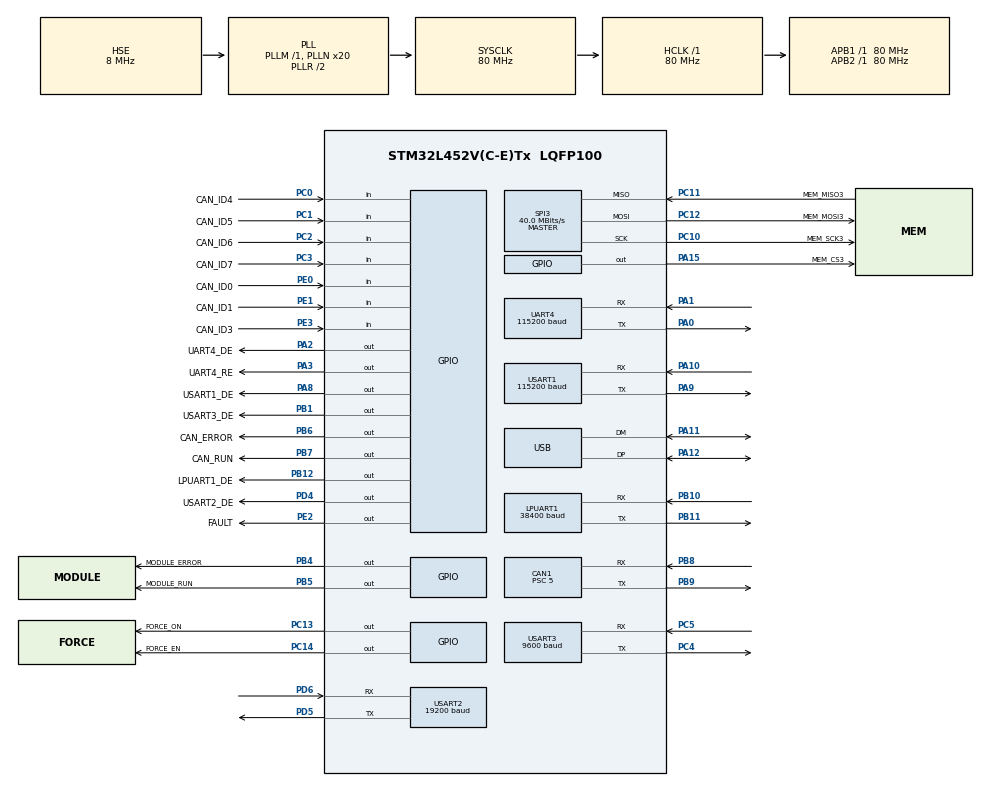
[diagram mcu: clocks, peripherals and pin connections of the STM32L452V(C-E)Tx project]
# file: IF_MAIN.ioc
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CAN1.ABOM=ENABLE
CAN1.BS1=CAN_BS1_12TQ
CAN1.BS2=CAN_BS2_4TQ
CAN1.CalculateBaudRate=941176
CAN1.CalculateTimeBit=1062
CAN1.CalculateTimeQuantum=62.5
CAN1.Prescaler=5
CAN1.RFLM=ENABLE
CAN1.TXFP=ENABLE
Dma.LPUART_RX.4.Direction=DMA_PERIPH_TO_MEMORY
Dma.LPUART_RX.4.Instance=DMA2_Channel7
Dma.LPUART_RX.4.MemDataAlignment=DMA_MDATAALIGN_BYTE
Dma.LPUART_RX.4.MemInc=DMA_MINC_ENABLE
Dma.LPUART_RX.4.Mode=DMA_CIRCULAR
Dma.LPUART_RX.4.PeriphDataAlignment=DMA_PDATAALIGN_BYTE
Dma.LPUART_RX.4.PeriphInc=DMA_PINC_DISABLE
Dma.LPUART_RX.4.Priority=DMA_PRIORITY_LOW
Dma.Request0=UART4_RX
Dma.Request1=USART1_RX
Dma.Request2=USART2_RX
Dma.Request3=USART3_RX
Dma.Request4=LPUART_RX
Dma.UART4_RX.0.Direction=DMA_PERIPH_TO_MEMORY
Dma.UART4_RX.0.Instance=DMA2_Channel5
Dma.UART4_RX.0.MemDataAlignment=DMA_MDATAALIGN_BYTE
Dma.UART4_RX.0.MemInc=DMA_MINC_ENABLE
Dma.UART4_RX.0.Mode=DMA_CIRCULAR
Dma.UART4_RX.0.PeriphDataAlignment=DMA_PDATAALIGN_BYTE
Dma.UART4_RX.0.PeriphInc=DMA_PINC_DISABLE
Dma.UART4_RX.0.Priority=DMA_PRIORITY_LOW
Dma.USART1_RX.1.Direction=DMA_PERIPH_TO_MEMORY
Dma.USART1_RX.1.Instance=DMA1_Channel5
Dma.USART1_RX.1.MemDataAlignment=DMA_MDATAALIGN_BYTE
Dma.USART1_RX.1.MemInc=DMA_MINC_ENABLE
Dma.USART1_RX.1.Mode=DMA_CIRCULAR
Dma.USART1_RX.1.PeriphDataAlignment=DMA_PDATAALIGN_BYTE
Dma.USART1_RX.1.PeriphInc=DMA_PINC_DISABLE
Dma.USART1_RX.1.Priority=DMA_PRIORITY_LOW
Dma.USART2_RX.2.Direction=DMA_PERIPH_TO_MEMORY
Dma.USART2_RX.2.Instance=DMA1_Channel6
Dma.USART2_RX.2.MemDataAlignment=DMA_MDATAALIGN_BYTE
Dma.USART2_RX.2.MemInc=DMA_MINC_ENABLE
Dma.USART2_RX.2.Mode=DMA_CIRCULAR
Dma.USART2_RX.2.PeriphDataAlignment=DMA_PDATAALIGN_BYTE
Dma.USART2_RX.2.PeriphInc=DMA_PINC_DISABLE
Dma.USART2_RX.2.Priority=DMA_PRIORITY_LOW
Dma.USART3_RX.3.Direction=DMA_PERIPH_TO_MEMORY
Dma.USART3_RX.3.Instance=DMA1_Channel3
Dma.USART3_RX.3.MemDataAlignment=DMA_MDATAALIGN_BYTE
Dma.USART3_RX.3.MemInc=DMA_MINC_ENABLE
Dma.USART3_RX.3.Mode=DMA_CIRCULAR
Dma.USART3_RX.3.PeriphDataAlignment=DMA_PDATAALIGN_BYTE
Dma.USART3_RX.3.PeriphInc=DMA_PINC_DISABLE
Dma.USART3_RX.3.Priority=DMA_PRIORITY_LOW
FREERTOS.Tasks01=defaultTask,24,128,StartDefaultTask,Default,NULL,Dynamic,NULL,NULL
FREERTOS.configGENERATE_RUN_TIME_STATS=1
FREERTOS.configTOTAL_HEAP_SIZE=80000
FREERTOS.configUSE_NEWLIB_REENTRANT=1
FREERTOS.configUSE_STATS_FORMATTING_FUNCTIONS=1
IWDG.Prescaler=IWDG_PRESCALER_64
IWDG.Reload=1499
IWDG.Window=4095
LPUART1.BaudRate=38400
LPUART1.DMADisableonRxErrorParam=UART_ADVFEATURE_DMA_DISABLEONRXERROR
LPUART1.OverrunDisableParam=UART_ADVFEATURE_OVERRUN_DISABLE
LPUART1.WordLength=UART_WORDLENGTH_8B
Mcu.Family=STM32L4
Mcu.Name=STM32L452V(C-E)Tx
Mcu.Package=LQFP100
NVIC.CAN1_RX0_IRQn=true\:5\:0\:false\:false\:true\:true\:true\:true\:true
NVIC.CAN1_RX1_IRQn=true\:5\:0\:false\:false\:true\:true\:true\:true\:true
NVIC.CAN1_SCE_IRQn=true\:5\:0\:false\:false\:true\:true\:true\:true\:true
NVIC.CAN1_TX_IRQn=true\:5\:0\:false\:false\:true\:true\:true\:true\:true
NVIC.DMA1_Channel3_IRQn=true\:5\:0\:false\:false\:true\:true\:false\:true\:true
NVIC.DMA1_Channel5_IRQn=true\:5\:0\:false\:false\:true\:true\:false\:true\:true
NVIC.DMA1_Channel6_IRQn=true\:5\:0\:false\:false\:true\:true\:false\:true\:true
NVIC.DMA2_Channel5_IRQn=true\:5\:0\:false\:false\:true\:true\:false\:true\:true
NVIC.DMA2_Channel7_IRQn=true\:5\:0\:false\:false\:true\:true\:false\:true\:true
NVIC.LPUART1_IRQn=true\:5\:0\:false\:false\:true\:true\:true\:true\:true
NVIC.PriorityGroup=NVIC_PRIORITYGROUP_4
NVIC.TIM1_UP_TIM16_IRQn=true\:15\:0\:false\:false\:true\:false\:false\:true\:true
NVIC.TIM6_DAC_IRQn=true\:5\:0\:false\:false\:true\:true\:true\:true\:true
NVIC.TimeBase=TIM1_UP_TIM16_IRQn
NVIC.TimeBaseIP=TIM16
NVIC.UART4_IRQn=true\:5\:0\:false\:false\:true\:true\:true\:true\:true
NVIC.USART1_IRQn=true\:5\:0\:false\:false\:true\:true\:true\:true\:true
NVIC.USART2_IRQn=true\:5\:0\:false\:false\:true\:true\:true\:true\:true
NVIC.USART3_IRQn=true\:5\:0\:false\:false\:true\:true\:true\:true\:true
NVIC.USB_IRQn=true\:5\:0\:false\:false\:true\:true\:false\:true\:true
PA0.Mode=Asynchronous
PA0.Signal=UART4_TX
PA1.Mode=Asynchronous
PA1.Signal=UART4_RX
PA10.Mode=Asynchronous
PA10.Signal=USART1_RX
PA11.Mode=Device
PA11.Signal=USB_DM
PA12.Mode=Device
PA12.Signal=USB_DP
PA13\ (JTMS/SWDIO).Mode=Trace_Asynchronous_SW
PA13\ (JTMS/SWDIO).Signal=SYS_JTMS-SWDIO
PA14\ (JTCK/SWCLK).Mode=Trace_Asynchronous_SW
PA14\ (JTCK/SWCLK).Signal=SYS_JTCK-SWCLK
PA15\ (JTDI).GPIO_Label=MEM_CS3
PA15\ (JTDI).GPIO_Speed=GPIO_SPEED_FREQ_HIGH
PA15\ (JTDI).PinState=GPIO_PIN_SET
PA15\ (JTDI).Signal=GPIO_Output
PA2.GPIO_Label=UART4_DE
PA2.Signal=GPIO_Output
PA3.GPIO_Label=UART4_RE
PA3.Signal=GPIO_Output
PA8.GPIO_Label=USART1_DE
PA8.Signal=GPIO_Output
PA9.Mode=Asynchronous
PA9.Signal=USART1_TX
PB1.GPIO_Label=USART3_DE
PB1.Signal=GPIO_Output
PB10.Mode=Asynchronous
PB10.Signal=LPUART1_RX
PB11.Mode=Asynchronous
PB11.Signal=LPUART1_TX
PB12.GPIO_Label=LPUART1_DE
PB12.Signal=GPIO_Output
PB3\ (JTDO/TRACESWO).Mode=Trace_Asynchronous_SW
PB3\ (JTDO/TRACESWO).Signal=SYS_JTDO-SWO
PB4\ (NJTRST).GPIO_Label=MODULE_ERROR
PB4\ (NJTRST).Signal=GPIO_Output
PB5.GPIO_Label=MODULE_RUN
PB5.Signal=GPIO_Output
PB6.GPIO_Label=CAN_ERROR
PB6.Signal=GPIO_Output
PB7.GPIO_Label=CAN_RUN
PB7.Signal=GPIO_Output
PB8.Mode=CAN_Activate
PB8.Signal=CAN1_RX
PB9.Mode=CAN_Activate
PB9.Signal=CAN1_TX
PC0.GPIO_Label=CAN_ID4
PC0.GPIO_PuPd=GPIO_PULLUP
PC0.Signal=GPIO_Input
PC1.GPIO_Label=CAN_ID5
PC1.GPIO_PuPd=GPIO_PULLUP
PC1.Signal=GPIO_Input
PC10.GPIO_Label=MEM_SCK3
PC10.Mode=Full_Duplex_Master
PC10.Signal=SPI3_SCK
PC11.GPIO_Label=MEM_MISO3
PC11.Mode=Full_Duplex_Master
PC11.Signal=SPI3_MISO
PC12.GPIO_Label=MEM_MOSI3
PC12.Mode=Full_Duplex_Master
PC12.Signal=SPI3_MOSI
PC13.GPIO_Label=FORCE_ON
PC13.Signal=GPIO_Output
PC14-OSC32_IN\ (PC14).GPIO_Label=FORCE_EN
PC14-OSC32_IN\ (PC14).Signal=GPIO_Output
PC2.GPIO_Label=CAN_ID6
PC2.GPIO_PuPd=GPIO_PULLUP
PC2.Signal=GPIO_Input
PC3.GPIO_Label=CAN_ID7
PC3.GPIO_PuPd=GPIO_PULLUP
PC3.Signal=GPIO_Input
PC4.Mode=Asynchronous
PC4.Signal=USART3_TX
PC5.Mode=Asynchronous
PC5.Signal=USART3_RX
PD4.GPIO_Label=USART2_DE
PD4.Signal=GPIO_Output
PD5.Mode=Asynchronous
PD5.Signal=USART2_TX
PD6.Mode=Asynchronous
PD6.Signal=USART2_RX
PE0.GPIO_Label=CAN_ID0
PE0.GPIO_PuPd=GPIO_PULLUP
PE0.Signal=GPIO_Input
PE1.GPIO_Label=CAN_ID1
PE1.GPIO_PuPd=GPIO_PULLUP
PE1.Signal=GPIO_Input
PE2.GPIO_Label=FAULT
PE2.Signal=GPIO_Output
PE3.GPIO_Label=CAN_ID3
PE3.GPIO_PuPd=GPIO_PULLUP
PE3.Signal=GPIO_Input
PH0-OSC_IN\ (PH0).Mode=HSE-External-Oscillator
PH0-OSC_IN\ (PH0).Signal=RCC_OSC_IN
PH1-OSC_OUT\ (PH1).Mode=HSE-External-Oscillator
PH1-OSC_OUT\ (PH1).Signal=RCC_OSC_OUT
ProjectManager.HeapSize=0x200
ProjectManager.StackSize=0x400
ProjectManager.TargetToolchain=STM32CubeIDE
RCC.ADCFreq_Value=48000000
RCC.AHBFreq_Value=80000000
RCC.APB1Freq_Value=80000000
RCC.APB1TimFreq_Value=80000000
RCC.APB2Freq_Value=80000000
RCC.APB2TimFreq_Value=80000000
RCC.CK48CLockSelection=RCC_USBCLKSOURCE_HSI48
RCC.CortexFreq_Value=80000000
RCC.HCLKFreq_Value=80000000
RCC.HSE_VALUE=8000000
RCC.HSI48_VALUE=48000000
RCC.HSI_VALUE=16000000
RCC.LSE_VALUE=32768
RCC.MSI_VALUE=4000000
RCC.PLLN=20
RCC.PLLSAI1N=12
RCC.PLLSourceVirtual=RCC_PLLSOURCE_HSE
RCC.SYSCLKFreq_VALUE=80000000
RCC.SYSCLKSource=RCC_SYSCLKSOURCE_PLLCLK
RCC.USBFreq_Value=48000000
RCC.VCOOutputFreq_Value=160000000
SPI3.BaudRatePrescaler=SPI_BAUDRATEPRESCALER_2
SPI3.CalculateBaudRate=40.0 MBits/s
SPI3.DataSize=SPI_DATASIZE_8BIT
SPI3.Direction=SPI_DIRECTION_2LINES
SPI3.Mode=SPI_MODE_MASTER
SPI3.NSSPMode=SPI_NSS_PULSE_DISABLE
SPI3.VirtualType=VM_MASTER
TIM6.Prescaler=79
UART4.BaudRate=115200
USART1.BaudRate=115200
USART1.VirtualMode-Asynchronous=VM_ASYNC
USART2.BaudRate=19200
USART2.VirtualMode-Asynchronous=VM_ASYNC
USART3.BaudRate=9600
USART3.Parity=PARITY_EVEN
USART3.VirtualMode-Asynchronous=VM_ASYNC
USART3.WordLength=WORDLENGTH_9B
USB_DEVICE.CLASS_NAME_FS=CDC
USB_DEVICE.VirtualMode=Cdc
USB_DEVICE.VirtualModeFS=Cdc_FS
VP_FREERTOS_VS_CMSIS_V2.Mode=CMSIS_V2
VP_IWDG_VS_IWDG.Mode=IWDG_Activate
VP_SYS_VS_tim16.Mode=TIM16
VP_TIM6_VS_ClockSourceINT.Mode=Enable_Timer
VP_USB_DEVICE_VS_USB_DEVICE_CDC_FS.Mode=CDC_FS
board=custom

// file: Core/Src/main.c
/* USER CODE BEGIN Header */
/**
  ******************************************************************************
  * @file           : main.c
  * @brief          : Main program body
  ******************************************************************************
  * @attention
  *
  * Copyright (c) 2026 STMicroelectronics.
  * All rights reserved.
  *
  * This software is licensed under terms that can be found in the LICENSE file
  * in the root directory of this software component.
  * If no LICENSE file comes with this software, it is provided AS-IS.
  *
  ******************************************************************************
  */
/* USER CODE END Header */
#include "main.h"
#include "cmsis_os.h"
#include "usb_device.h"

/* USER CODE BEGIN Includes */
#include "a_application.h"
#include "a_boot_link.h"
#include "a_test_link.h"

/* USER CODE END Includes */

CAN_HandleTypeDef hcan1;

IWDG_HandleTypeDef hiwdg;

UART_HandleTypeDef hlpuart1;
UART_HandleTypeDef huart4;
UART_HandleTypeDef huart1;
UART_HandleTypeDef huart2;
UART_HandleTypeDef huart3;
DMA_HandleTypeDef hdma_lpuart_rx;
DMA_HandleTypeDef hdma_uart4_rx;
DMA_HandleTypeDef hdma_usart1_rx;
DMA_HandleTypeDef hdma_usart2_rx;
DMA_HandleTypeDef hdma_usart3_rx;

SPI_HandleTypeDef hspi3;

TIM_HandleTypeDef htim6;

/* Definitions for defaultTask */
osThreadId_t defaultTaskHandle;
const osThreadAttr_t defaultTask_attributes = {
  .name = "defaultTask",
  .stack_size = 128 * 4,
  .priority = (osPriority_t) osPriorityNormal,
};

void SystemClock_Config(void);
static void MX_GPIO_Init(void);
static void MX_DMA_Init(void);
static void MX_CAN1_Init(void);
static void MX_SPI3_Init(void);
static void MX_UART4_Init(void);
static void MX_USART1_UART_Init(void);
static void MX_USART2_UART_Init(void);
static void MX_USART3_UART_Init(void);
static void MX_LPUART1_UART_Init(void);
static void MX_TIM6_Init(void);
static void MX_IWDG_Init(void);
void StartDefaultTask(void *argument);

/* USER CODE BEGIN 0 */
    int _write(int file, char *ptr, int len)
    {
      int DataIdx;
      for (DataIdx = 0; DataIdx < len; DataIdx++)
      {
        ITM_SendChar(*ptr++); //__io_putchar(*ptr++);
      }
      return len;
    }

/* USER CODE END 0 */

int main(void)
{

  /* MCU Configuration--------------------------------------------------------*/

  /* Reset of all peripherals, Initializes the Flash interface and the Systick. */
  HAL_Init();

  /* Configure the system clock */
  SystemClock_Config();

  /* Initialize all configured peripherals */
  MX_GPIO_Init();
  MX_DMA_Init();
  MX_CAN1_Init();
  MX_SPI3_Init();
  MX_UART4_Init();
  MX_USART1_UART_Init();
  MX_USART2_UART_Init();
  MX_USART3_UART_Init();
  MX_LPUART1_UART_Init();
  MX_TIM6_Init();
  MX_IWDG_Init();

  /* Init scheduler */
  osKernelInitialize();

  /* Create the thread(s) */
  /* creation of defaultTask */
  defaultTaskHandle = osThreadNew(StartDefaultTask, NULL, &defaultTask_attributes);

  /* USER CODE BEGIN RTOS_THREADS */
  Application_Init();
  if (!Application_CreateTasks())
  {
    Error_Handler();
  }
  /* USER CODE END RTOS_THREADS */

  /* Start scheduler */
  osKernelStart();

  /* We should never get here as control is now taken by the scheduler */

  /* Infinite loop */
  while (1)
  {

  }
}

void SystemClock_Config(void)
{
  RCC_OscInitTypeDef RCC_OscInitStruct = {0};
  RCC_ClkInitTypeDef RCC_ClkInitStruct = {0};

  /** Configure the main internal regulator output voltage
  */
  if (HAL_PWREx_ControlVoltageScaling(PWR_REGULATOR_VOLTAGE_SCALE1) != HAL_OK)
  {
    Error_Handler();
  }

  /** Initializes the RCC Oscillators according to the specified parameters
  * in the RCC_OscInitTypeDef structure.
  */
  RCC_OscInitStruct.OscillatorType = RCC_OSCILLATORTYPE_HSI48|RCC_OSCILLATORTYPE_LSI
                              |RCC_OSCILLATORTYPE_HSE;
  RCC_OscInitStruct.HSEState = RCC_HSE_ON;
  RCC_OscInitStruct.HSI48State = RCC_HSI48_ON;
  RCC_OscInitStruct.LSIState = RCC_LSI_ON;
  RCC_OscInitStruct.PLL.PLLState = RCC_PLL_ON;
  RCC_OscInitStruct.PLL.PLLSource = RCC_PLLSOURCE_HSE;
  RCC_OscInitStruct.PLL.PLLM = 1;
  RCC_OscInitStruct.PLL.PLLN = 20;
  RCC_OscInitStruct.PLL.PLLP = RCC_PLLP_DIV7;
  RCC_OscInitStruct.PLL.PLLQ = RCC_PLLQ_DIV2;
  RCC_OscInitStruct.PLL.PLLR = RCC_PLLR_DIV2;
  if (HAL_RCC_OscConfig(&RCC_OscInitStruct) != HAL_OK)
  {
    Error_Handler();
  }

  /** Initializes the CPU, AHB and APB buses clocks
  */
  RCC_ClkInitStruct.ClockType = RCC_CLOCKTYPE_HCLK|RCC_CLOCKTYPE_SYSCLK
                              |RCC_CLOCKTYPE_PCLK1|RCC_CLOCKTYPE_PCLK2;
  RCC_ClkInitStruct.SYSCLKSource = RCC_SYSCLKSOURCE_PLLCLK;
  RCC_ClkInitStruct.AHBCLKDivider = RCC_SYSCLK_DIV1;
  RCC_ClkInitStruct.APB1CLKDivider = RCC_HCLK_DIV1;
  RCC_ClkInitStruct.APB2CLKDivider = RCC_HCLK_DIV1;

  if (HAL_RCC_ClockConfig(&RCC_ClkInitStruct, FLASH_LATENCY_4) != HAL_OK)
  {
    Error_Handler();
  }
}

static void MX_CAN1_Init(void)
{

  hcan1.Instance = CAN1;
  hcan1.Init.Prescaler = 5;
  hcan1.Init.Mode = CAN_MODE_NORMAL;
  hcan1.Init.SyncJumpWidth = CAN_SJW_1TQ;
  hcan1.Init.TimeSeg1 = CAN_BS1_12TQ;
  hcan1.Init.TimeSeg2 = CAN_BS2_4TQ;
  hcan1.Init.TimeTriggeredMode = DISABLE;
  hcan1.Init.AutoBusOff = ENABLE;
  hcan1.Init.AutoWakeUp = DISABLE;
  hcan1.Init.AutoRetransmission = DISABLE;
  hcan1.Init.ReceiveFifoLocked = ENABLE;
  hcan1.Init.TransmitFifoPriority = ENABLE;
  if (HAL_CAN_Init(&hcan1) != HAL_OK)
  {
    Error_Handler();
  }

}

static void MX_IWDG_Init(void)
{

  hiwdg.Instance = IWDG;
  hiwdg.Init.Prescaler = IWDG_PRESCALER_64;
  hiwdg.Init.Window = 4095;
  hiwdg.Init.Reload = 1499;
  if (HAL_IWDG_Init(&hiwdg) != HAL_OK)
  {
    Error_Handler();
  }

}

static void MX_LPUART1_UART_Init(void)
{

  hlpuart1.Instance = LPUART1;
  hlpuart1.Init.BaudRate = 38400;
  hlpuart1.Init.WordLength = UART_WORDLENGTH_8B;
  hlpuart1.Init.StopBits = UART_STOPBITS_1;
  hlpuart1.Init.Parity = UART_PARITY_NONE;
  hlpuart1.Init.Mode = UART_MODE_TX_RX;
  hlpuart1.Init.HwFlowCtl = UART_HWCONTROL_NONE;
  hlpuart1.Init.OneBitSampling = UART_ONE_BIT_SAMPLE_DISABLE;
  hlpuart1.AdvancedInit.AdvFeatureInit = UART_ADVFEATURE_RXOVERRUNDISABLE_INIT|UART_ADVFEATURE_DMADISABLEONERROR_INIT;
  hlpuart1.AdvancedInit.OverrunDisable = UART_ADVFEATURE_OVERRUN_DISABLE;
  hlpuart1.AdvancedInit.DMADisableonRxError = UART_ADVFEATURE_DMA_DISABLEONRXERROR;
  if (HAL_UART_Init(&hlpuart1) != HAL_OK)
  {
    Error_Handler();
  }

}

static void MX_UART4_Init(void)
{

  huart4.Instance = UART4;
  huart4.Init.BaudRate = 115200;
  huart4.Init.WordLength = UART_WORDLENGTH_8B;
  huart4.Init.StopBits = UART_STOPBITS_1;
  huart4.Init.Parity = UART_PARITY_NONE;
  huart4.Init.Mode = UART_MODE_TX_RX;
  huart4.Init.HwFlowCtl = UART_HWCONTROL_NONE;
  huart4.Init.OverSampling = UART_OVERSAMPLING_16;
  huart4.Init.OneBitSampling = UART_ONE_BIT_SAMPLE_DISABLE;
  huart4.AdvancedInit.AdvFeatureInit = UART_ADVFEATURE_NO_INIT;
  if (HAL_UART_Init(&huart4) != HAL_OK)
  {
    Error_Handler();
  }

}

static void MX_USART1_UART_Init(void)
{

  huart1.Instance = USART1;
  huart1.Init.BaudRate = 115200;
  huart1.Init.WordLength = UART_WORDLENGTH_8B;
  huart1.Init.StopBits = UART_STOPBITS_1;
  huart1.Init.Parity = UART_PARITY_NONE;
  huart1.Init.Mode = UART_MODE_TX_RX;
  huart1.Init.HwFlowCtl = UART_HWCONTROL_NONE;
  huart1.Init.OverSampling = UART_OVERSAMPLING_16;
  huart1.Init.OneBitSampling = UART_ONE_BIT_SAMPLE_DISABLE;
  huart1.AdvancedInit.AdvFeatureInit = UART_ADVFEATURE_NO_INIT;
  if (HAL_UART_Init(&huart1) != HAL_OK)
  {
    Error_Handler();
  }

}

static void MX_USART2_UART_Init(void)
{

  huart2.Instance = USART2;
  huart2.Init.BaudRate = 19200;
  huart2.Init.WordLength = UART_WORDLENGTH_8B;
  huart2.Init.StopBits = UART_STOPBITS_1;
  huart2.Init.Parity = UART_PARITY_NONE;
  huart2.Init.Mode = UART_MODE_TX_RX;
  huart2.Init.HwFlowCtl = UART_HWCONTROL_NONE;
  huart2.Init.OverSampling = UART_OVERSAMPLING_16;
  huart2.Init.OneBitSampling = UART_ONE_BIT_SAMPLE_DISABLE;
  huart2.AdvancedInit.AdvFeatureInit = UART_ADVFEATURE_NO_INIT;
  if (HAL_UART_Init(&huart2) != HAL_OK)
  {
    Error_Handler();
  }

}

static void MX_USART3_UART_Init(void)
{

  huart3.Instance = USART3;
  huart3.Init.BaudRate = 9600;
  huart3.Init.WordLength = UART_WORDLENGTH_9B;
  huart3.Init.StopBits = UART_STOPBITS_1;
  huart3.Init.Parity = UART_PARITY_EVEN;
  huart3.Init.Mode = UART_MODE_TX_RX;
  huart3.Init.HwFlowCtl = UART_HWCONTROL_NONE;
  huart3.Init.OverSampling = UART_OVERSAMPLING_16;
  huart3.Init.OneBitSampling = UART_ONE_BIT_SAMPLE_DISABLE;
  huart3.AdvancedInit.AdvFeatureInit = UART_ADVFEATURE_NO_INIT;
  if (HAL_UART_Init(&huart3) != HAL_OK)
  {
    Error_Handler();
  }

}

static void MX_SPI3_Init(void)
{

  /* SPI3 parameter configuration*/
  hspi3.Instance = SPI3;
  hspi3.Init.Mode = SPI_MODE_MASTER;
  hspi3.Init.Direction = SPI_DIRECTION_2LINES;
  hspi3.Init.DataSize = SPI_DATASIZE_8BIT;
  hspi3.Init.CLKPolarity = SPI_POLARITY_LOW;
  hspi3.Init.CLKPhase = SPI_PHASE_1EDGE;
  hspi3.Init.NSS = SPI_NSS_SOFT;
  hspi3.Init.BaudRatePrescaler = SPI_BAUDRATEPRESCALER_2;
  hspi3.Init.FirstBit = SPI_FIRSTBIT_MSB;
  hspi3.Init.TIMode = SPI_TIMODE_DISABLE;
  hspi3.Init.CRCCalculation = SPI_CRCCALCULATION_DISABLE;
  hspi3.Init.CRCPolynomial = 7;
  hspi3.Init.CRCLength = SPI_CRC_LENGTH_DATASIZE;
  hspi3.Init.NSSPMode = SPI_NSS_PULSE_DISABLE;
  if (HAL_SPI_Init(&hspi3) != HAL_OK)
  {
    Error_Handler();
  }

}

static void MX_TIM6_Init(void)
{

  TIM_MasterConfigTypeDef sMasterConfig = {0};

  htim6.Instance = TIM6;
  htim6.Init.Prescaler = 79;
  htim6.Init.CounterMode = TIM_COUNTERMODE_UP;
  htim6.Init.Period = 65535;
  htim6.Init.AutoReloadPreload = TIM_AUTORELOAD_PRELOAD_DISABLE;
  if (HAL_TIM_Base_Init(&htim6) != HAL_OK)
  {
    Error_Handler();
  }
  sMasterConfig.MasterOutputTrigger = TIM_TRGO_RESET;
  sMasterConfig.MasterSlaveMode = TIM_MASTERSLAVEMODE_DISABLE;
  if (HAL_TIMEx_MasterConfigSynchronization(&htim6, &sMasterConfig) != HAL_OK)
  {
    Error_Handler();
  }

}

static void MX_DMA_Init(void)
{

  /* DMA controller clock enable */
  __HAL_RCC_DMA2_CLK_ENABLE();
  __HAL_RCC_DMA1_CLK_ENABLE();

  /* DMA interrupt init */
  /* DMA1_Channel3_IRQn interrupt configuration */
  HAL_NVIC_SetPriority(DMA1_Channel3_IRQn, 5, 0);
  HAL_NVIC_EnableIRQ(DMA1_Channel3_IRQn);
  /* DMA1_Channel5_IRQn interrupt configuration */
  HAL_NVIC_SetPriority(DMA1_Channel5_IRQn, 5, 0);
  HAL_NVIC_EnableIRQ(DMA1_Channel5_IRQn);
  /* DMA1_Channel6_IRQn interrupt configuration */
  HAL_NVIC_SetPriority(DMA1_Channel6_IRQn, 5, 0);
  HAL_NVIC_EnableIRQ(DMA1_Channel6_IRQn);
  /* DMA2_Channel5_IRQn interrupt configuration */
  HAL_NVIC_SetPriority(DMA2_Channel5_IRQn, 5, 0);
  HAL_NVIC_EnableIRQ(DMA2_Channel5_IRQn);
  /* DMA2_Channel7_IRQn interrupt configuration */
  HAL_NVIC_SetPriority(DMA2_Channel7_IRQn, 5, 0);
  HAL_NVIC_EnableIRQ(DMA2_Channel7_IRQn);

}

static void MX_GPIO_Init(void)
{
  GPIO_InitTypeDef GPIO_InitStruct = {0};

  /* GPIO Ports Clock Enable */
  __HAL_RCC_GPIOE_CLK_ENABLE();
  __HAL_RCC_GPIOC_CLK_ENABLE();
  __HAL_RCC_GPIOH_CLK_ENABLE();
  __HAL_RCC_GPIOA_CLK_ENABLE();
  __HAL_RCC_GPIOB_CLK_ENABLE();
  __HAL_RCC_GPIOD_CLK_ENABLE();

  /*Configure GPIO pin Output Level */
  HAL_GPIO_WritePin(GPIOC, FORCE_ON_Pin|FORCE_EN_Pin, GPIO_PIN_RESET);

  /*Configure GPIO pin Output Level */
  HAL_GPIO_WritePin(GPIOA, UART4_DE_Pin|UART4_RE_Pin|USART1_DE_Pin, GPIO_PIN_RESET);

  /*Configure GPIO pin Output Level */
  HAL_GPIO_WritePin(GPIOB, USART3_DE_Pin|LPUART1_DE_Pin|MODULE_ERROR_Pin|MODULE_RUN_Pin
                          |CAN_ERROR_Pin|CAN_RUN_Pin, GPIO_PIN_RESET);

  /*Configure GPIO pin Output Level */
  HAL_GPIO_WritePin(MEM_CS3_GPIO_Port, MEM_CS3_Pin, GPIO_PIN_SET);

  /*Configure GPIO pin Output Level */
  HAL_GPIO_WritePin(USART2_DE_GPIO_Port, USART2_DE_Pin, GPIO_PIN_RESET);

  /* PE2 drives the TB18 normally-open fault relay. */
  HAL_GPIO_WritePin(FAULT_GPIO_Port, FAULT_Pin, GPIO_PIN_RESET);
  GPIO_InitStruct.Pin = FAULT_Pin;
  GPIO_InitStruct.Mode = GPIO_MODE_OUTPUT_PP;
  GPIO_InitStruct.Pull = GPIO_NOPULL;
  GPIO_InitStruct.Speed = GPIO_SPEED_FREQ_LOW;
  HAL_GPIO_Init(FAULT_GPIO_Port, &GPIO_InitStruct);

  /*Configure GPIO pins : CAN_ID3_Pin CAN_ID0_Pin CAN_ID1_Pin */
  GPIO_InitStruct.Pin = CAN_ID3_Pin|CAN_ID0_Pin|CAN_ID1_Pin;
  GPIO_InitStruct.Mode = GPIO_MODE_INPUT;
  GPIO_InitStruct.Pull = GPIO_PULLUP;
  HAL_GPIO_Init(GPIOE, &GPIO_InitStruct);

  /*Configure GPIO pins : FORCE_ON_Pin FORCE_EN_Pin */
  GPIO_InitStruct.Pin = FORCE_ON_Pin|FORCE_EN_Pin;
  GPIO_InitStruct.Mode = GPIO_MODE_OUTPUT_PP;
  GPIO_InitStruct.Pull = GPIO_NOPULL;
  GPIO_InitStruct.Speed = GPIO_SPEED_FREQ_LOW;
  HAL_GPIO_Init(GPIOC, &GPIO_InitStruct);

  /*Configure GPIO pins : CAN_ID4_Pin CAN_ID5_Pin CAN_ID6_Pin CAN_ID7_Pin */
  GPIO_InitStruct.Pin = CAN_ID4_Pin|CAN_ID5_Pin|CAN_ID6_Pin|CAN_ID7_Pin;
  GPIO_InitStruct.Mode = GPIO_MODE_INPUT;
  GPIO_InitStruct.Pull = GPIO_PULLUP;
  HAL_GPIO_Init(GPIOC, &GPIO_InitStruct);

  /*Configure GPIO pins : UART4_DE_Pin UART4_RE_Pin USART1_DE_Pin */
  GPIO_InitStruct.Pin = UART4_DE_Pin|UART4_RE_Pin|USART1_DE_Pin;
  GPIO_InitStruct.Mode = GPIO_MODE_OUTPUT_PP;
  GPIO_InitStruct.Pull = GPIO_NOPULL;
  GPIO_InitStruct.Speed = GPIO_SPEED_FREQ_LOW;
  HAL_GPIO_Init(GPIOA, &GPIO_InitStruct);

  /*Configure GPIO pins : USART3_DE_Pin LPUART1_DE_Pin MODULE_ERROR_Pin MODULE_RUN_Pin
                           CAN_ERROR_Pin CAN_RUN_Pin */
  GPIO_InitStruct.Pin = USART3_DE_Pin|LPUART1_DE_Pin|MODULE_ERROR_Pin|MODULE_RUN_Pin
                          |CAN_ERROR_Pin|CAN_RUN_Pin;
  GPIO_InitStruct.Mode = GPIO_MODE_OUTPUT_PP;
  GPIO_InitStruct.Pull = GPIO_NOPULL;
  GPIO_InitStruct.Speed = GPIO_SPEED_FREQ_LOW;
  HAL_GPIO_Init(GPIOB, &GPIO_InitStruct);

  /*Configure GPIO pin : MEM_CS3_Pin */
  GPIO_InitStruct.Pin = MEM_CS3_Pin;
  GPIO_InitStruct.Mode = GPIO_MODE_OUTPUT_PP;
  GPIO_InitStruct.Pull = GPIO_NOPULL;
  GPIO_InitStruct.Speed = GPIO_SPEED_FREQ_HIGH;
  HAL_GPIO_Init(MEM_CS3_GPIO_Port, &GPIO_InitStruct);

  /*Configure GPIO pin : USART2_DE_Pin */
  GPIO_InitStruct.Pin = USART2_DE_Pin;
  GPIO_InitStruct.Mode = GPIO_MODE_OUTPUT_PP;
  GPIO_InitStruct.Pull = GPIO_NOPULL;
  GPIO_InitStruct.Speed = GPIO_SPEED_FREQ_LOW;
  HAL_GPIO_Init(USART2_DE_GPIO_Port, &GPIO_InitStruct);

}

void StartDefaultTask(void *argument)
{
  /* init code for USB_DEVICE */
  MX_USB_DEVICE_Init();
  /* USER CODE BEGIN 5 */
  /* Application communication monitoring owns the RUN/ERROR LEDs. */

  /* USB로 들어오는 "펌웨어 업데이트 진입(ENTER_UPDATE)" 트리거 프레임 파서 초기화.
   * 이 task는 기존에 LED 표시 외에 하는 일이 없던 유휴 task라, 새 task를
   * 만들지 않고 여기에 트리거 처리를 얹는다. */
  AppBootLink_Init();
  TestLink_Init();

  for(;;)
  {
    /* 원래 1000ms였던 주기를 20ms로 줄여서, PC GUI가 보낸 업데이트 진입
     * 요청을 최대 20ms 지연 안에 인식하고 재부팅하도록 한다(응답성 확보,
     * CPU 부담은 무시할 수준). */
    AppBootLink_Process();
    TestLink_Process();
    osDelay(20);
  }
  /* USER CODE END 5 */
}

void HAL_TIM_PeriodElapsedCallback(TIM_HandleTypeDef *htim)
{
  if (htim->Instance == TIM16)
  {
    HAL_IncTick();
  }
}

void Error_Handler(void)
{
  __disable_irq();
  while (1)
  {
  }
}
